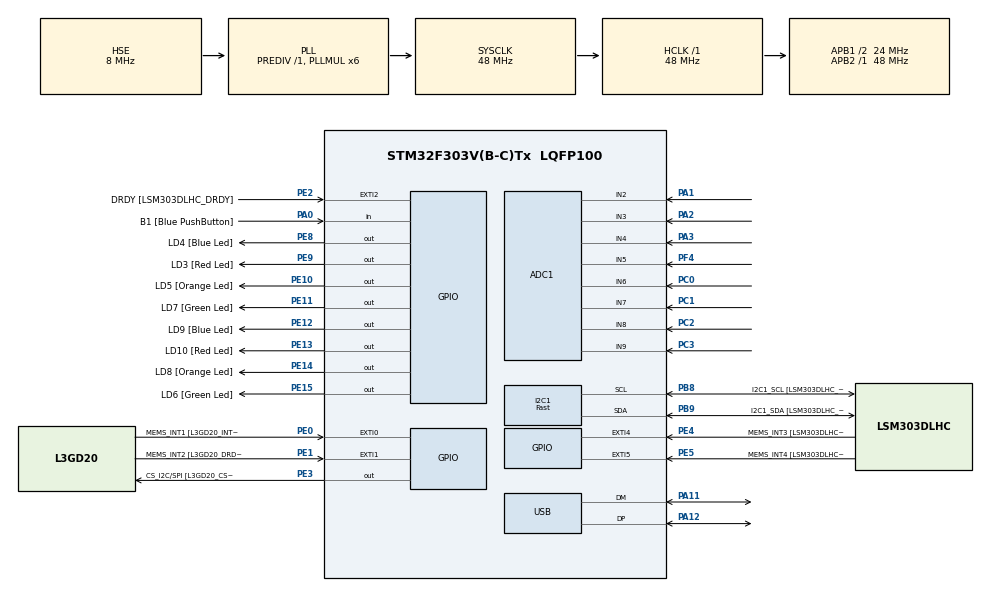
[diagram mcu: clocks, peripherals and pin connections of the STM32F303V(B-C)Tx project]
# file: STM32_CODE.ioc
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ADC1.Channel-0\#ChannelRegularConversion=ADC_CHANNEL_2
ADC1.NbrOfConversionFlag=1
ADC1.SamplingTime-0\#ChannelRegularConversion=ADC_SAMPLETIME_61CYCLES_5
ADC1.master=1
FREERTOS.BinarySemaphores01=SemI2C,Dynamic,NULL
FREERTOS.Mutexes01=MutexADC1,Dynamic,NULL
FREERTOS.Tasks01=Task01_I2C,3,300,StartTask01_I2C,Default,NULL,Dynamic,NULL,NULL
FREERTOS.configTOTAL_HEAP_SIZE=6072
I2C1.I2C_Speed_Mode=I2C_Fast
I2C1.NoStretchMode=I2C_NOSTRETCH_DISABLE
I2C1.OwnAddress=0xD
I2C1.Timing=0x0000020B
Mcu.Family=STM32F3
Mcu.Name=STM32F303V(B-C)Tx
Mcu.Package=LQFP100
NVIC.I2C1_EV_IRQn=true\:5\:0\:false\:false\:true\:true\:true\:true
NVIC.PriorityGroup=NVIC_PRIORITYGROUP_4
NVIC.TIM6_DAC_IRQn=true\:15\:0\:false\:false\:true\:false\:false\:true
NVIC.TimeBase=TIM6_DAC_IRQn
NVIC.TimeBaseIP=TIM6
PA0.GPIO_Label=B1 [Blue PushButton]
PA0.Signal=GPIO_Input
PA1.Mode=IN2-Single-Ended
PA1.Signal=ADC1_IN2
PA11.GPIO_Mode=GPIO_MODE_AF_PP
PA11.GPIO_PuPd=GPIO_NOPULL
PA11.GPIO_Speed=GPIO_SPEED_FREQ_HIGH
PA11.Mode=Device
PA11.Signal=USB_DM
PA12.GPIO_Mode=GPIO_MODE_AF_PP
PA12.GPIO_PuPd=GPIO_NOPULL
PA12.GPIO_Speed=GPIO_SPEED_FREQ_HIGH
PA12.Mode=Device
PA12.Signal=USB_DP
PA13.GPIO_Label=SWDIO
PA13.Mode=Serial_Wire
PA13.Signal=SYS_JTMS-SWDIO
PA14.GPIO_Label=SWCLK
PA14.Mode=Serial_Wire
PA14.Signal=SYS_JTCK-SWCLK
PA2.Mode=IN3-Single-Ended
PA2.Signal=ADC1_IN3
PA3.Mode=IN4-Single-Ended
PA3.Signal=ADC1_IN4
PA5.GPIO_Label=SPI1_SCK [L3GD20_SCL/SPC]
PA5.Signal=SPI1_SCK
PA6.GPIO_Label=SPI1_MISO [L3GD20_SA0/SDO]
PA6.Signal=SPI1_MISO
PA7.GPIO_Label=SPI1_MISO [L3GD20_SDA/SDI/SDO]
PA7.Signal=SPI1_MOSI
PB3.GPIO_Label=SWO
PB3.Signal=SYS_JTDO-TRACESWO
PB8.GPIO_Label=I2C1_SCL [LSM303DLHC_SCL]
PB8.GPIO_Pu=GPIO_PULLUP
PB8.Mode=I2C
PB8.Signal=I2C1_SCL
PB9.GPIO_Label=I2C1_SDA [LSM303DLHC_SDA]
PB9.GPIO_Pu=GPIO_PULLUP
PB9.Mode=I2C
PB9.Signal=I2C1_SDA
PC0.Signal=ADCx_IN6
PC1.Signal=ADCx_IN7
PC14-OSC32_IN.GPIO_Label=OSC32_IN
PC14-OSC32_IN.Signal=RCC_OSC32_IN
PC15-OSC32_OUT.GPIO_Label=OSC32_OUT
PC15-OSC32_OUT.Signal=RCC_OSC32_OUT
PC2.Signal=ADCx_IN8
PC3.Signal=ADCx_IN9
PE0.GPIO_Label=MEMS_INT1 [L3GD20_INT1]
PE0.GPIO_ModeDefaultEXTI=GPIO_MODE_EVT_RISING
PE0.Signal=GPXTI0
PE1.GPIO_Label=MEMS_INT2 [L3GD20_DRDY/INT2]
PE1.GPIO_ModeDefaultEXTI=GPIO_MODE_EVT_RISING
PE1.Signal=GPXTI1
PE10.GPIO_Label=LD5 [Orange Led]
PE10.Signal=GPIO_Output
PE11.GPIO_Label=LD7 [Green Led]
PE11.Signal=GPIO_Output
PE12.GPIO_Label=LD9 [Blue Led]
PE12.Signal=GPIO_Output
PE13.GPIO_Label=LD10 [Red Led]
PE13.Signal=GPIO_Output
PE14.GPIO_Label=LD8 [Orange Led]
PE14.Signal=GPIO_Output
PE15.GPIO_Label=LD6 [Green Led]
PE15.Signal=GPIO_Output
PE2.GPIO_Label=DRDY [LSM303DLHC_DRDY]
PE2.GPIO_ModeDefaultEXTI=GPIO_MODE_EVT_RISING
PE2.Signal=GPXTI2
PE3.GPIO_Label=CS_I2C/SPI [L3GD20_CS_I2C/SPI]
PE3.Signal=GPIO_Output
PE4.GPIO_Label=MEMS_INT3 [LSM303DLHC_INT1]
PE4.GPIO_ModeDefaultEXTI=GPIO_MODE_EVT_RISING
PE4.Signal=GPXTI4
PE5.GPIO_Label=MEMS_INT4 [LSM303DLHC_INT2]
PE5.GPIO_ModeDefaultEXTI=GPIO_MODE_EVT_RISING
PE5.Signal=GPXTI5
PE8.GPIO_Label=LD4 [Blue Led]
PE8.Signal=GPIO_Output
PE9.GPIO_Label=LD3 [Red Led]
PE9.Signal=GPIO_Output
PF0-OSC_IN.GPIO_Label=OSC_IN
PF0-OSC_IN.Mode=HSE-External-Clock-Source
PF0-OSC_IN.Signal=RCC_OSC_IN
PF1-OSC_OUT.GPIO_Label=OSC_OUT
PF1-OSC_OUT.Signal=RCC_OSC_OUT
PF4.Mode=IN5-Single-Ended
PF4.Signal=ADC1_IN5
ProjectManager.HeapSize=0x200
ProjectManager.StackSize=0x400
ProjectManager.TargetToolchain=STM32CubeIDE
RCC.AHBFreq_Value=48000000
RCC.APB1CLKDivider=RCC_HCLK_DIV2
RCC.APB1Freq_Value=24000000
RCC.APB1TimFreq_Value=48000000
RCC.APB2Freq_Value=48000000
RCC.APB2TimFreq_Value=48000000
RCC.CortexFreq_Value=48000000
RCC.HCLKFreq_Value=48000000
RCC.HSE_VALUE=8000000
RCC.HSI_VALUE=8000000
RCC.LSE_VALUE=32768
RCC.PLLMUL=RCC_PLL_MUL6
RCC.SYSCLKFreq_VALUE=48000000
RCC.SYSCLKSourceVirtual=RCC_SYSCLKSOURCE_PLLCLK
RCC.USBFreq_Value=48000000
SH.ADCx_IN6.0=ADC1_IN6,IN6-Single-Ended
SH.ADCx_IN7.0=ADC1_IN7,IN7-Single-Ended
SH.ADCx_IN8.0=ADC1_IN8,IN8-Single-Ended
SH.ADCx_IN9.0=ADC1_IN9,IN9-Single-Ended
VP_ADC1_TempSens_Input.Mode=IN-TempSens
VP_FREERTOS_VS_CMSIS_V1.Mode=CMSIS_V1
VP_SYS_VS_tim6.Mode=TIM6
board=STM32F3DISCOVERY

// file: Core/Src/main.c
/* USER CODE BEGIN Header */
/**
  ******************************************************************************
  * @file           : main.c
  * @brief          : Main program body
  ******************************************************************************
  * @attention
  *
  * Copyright (c) 2022 STMicroelectronics.
  * All rights reserved.
  *
  * This software is licensed under terms that can be found in the LICENSE file
  * in the root directory of this software component.
  * If no LICENSE file comes with this software, it is provided AS-IS.
  *
  ******************************************************************************
  */
/* USER CODE END Header */
#include "main.h"
#include "cmsis_os.h"

/* USER CODE BEGIN Includes */
#include <stdbool.h>
#include <string.h>
/* USER CODE END Includes */

/* USER CODE BEGIN PTD */
/**
 * Structure with the information of each sensor
 * Sensor name: Commercial reference of current sensor as string.
 * Sensor type: Current sensor technology type as string.
 * Main gas: Current sensor main response gas as string.
 * Response time: Current sensor response time (t90) in seconds.
 */
typedef struct Sensor{
  char Sensor_name[11];
  char Sensor_type[14];
  char Main_gas[20];
  int16_t Response_time;
} Sensor;
/**
 * Structure with the information of PCB
 * PCB unique ID: Consecutive for the PCB ID.
 * Number of sensors: Number of sensor ADC readings
 * Manufacturing date: PCB manufacturing date as string on dd/mm/yyyy format.
 * PCB capabilities: Only the 4 LSBs are used to specify the environmental sensors
	that the PCB has, since not all readings are mandatory. The order is as follows:
	temperature_degC, temperaturePCB_degC, humidity_percent, absolutePressure_kPa (00001111).
 */
typedef struct PCB{
  int16_t PCBUniqueID;
  int8_t NumberOfSensors;
  char ManufacturingDate[10];
  int8_t PCBCapabilities;
} PCB;
/* USER CODE END PTD */

/* USER CODE BEGIN PD */
//I2C functions
#define REQUEST_DEVICE_TYPE 1
#define REQUEST_DEVICE_METADATA_BASIC 2
#define REQUEST_DEVICE_METADATA_COMPLETE 3
#define REQUEST_DEVICE_VOLTAGE_DATA 4
//PCB configuration
#define temperature_degC 0
#define temperaturePCB_degC 1
#define humidity_percent 0
#define absolutePressure_kPa 1

#define temperature_degC_Response_time	40
#define temperaturePCB_degC_Response_time	40
#define humidity_percent_Response_time	40
#define absolutePressure_kPa_Response_time	40

#define PCBuniqueID 10
#define Numberofsensors 3
#define Manufacturingdate "20/01/2022"

//Sensor 01 parameters
#define Sensor01_name			"FECS40-1000"
#define Sensor01_type			"Electroquimico"
#define Sensor01_Main_gas		"Monoxido de carbono"
#define Sensor01_Response_time	30
#define Sensor01_ADC_Channel	ADC_CHANNEL_3
//Sensor 02 parameters
#define Sensor02_name			"CO-CE-10000"
#define Sensor02_type			"Electroquimico"
#define Sensor02_Main_gas		"Monoxido de carbono"
#define Sensor02_Response_time	75
#define Sensor02_ADC_Channel	ADC_CHANNEL_4
//Sensor 03 parameters
#define Sensor03_name			"4-NO2-2000"
#define Sensor03_type			"Electroquimico"
#define Sensor03_Main_gas		"Dioxido de nitrogeno"
#define Sensor03_Response_time	60
#define Sensor03_ADC_Channel	ADC_CHANNEL_5
//Sensor 04 parameters
#define Sensor04_name			"xxx1"
#define Sensor04_type			"fire"
#define Sensor04_Main_gas		"azufre"
#define Sensor04_Response_time	10
#define Sensor04_ADC_Channel	ADC_CHANNEL_6
//Sensor 05 parameters
#define Sensor05_name			"xxx1"
#define Sensor05_type			"fire"
#define Sensor05_Main_gas		"azufre"
#define Sensor05_Response_time	10
#define Sensor05_ADC_Channel	ADC_CHANNEL_6
//Sensor 06 parameters
#define Sensor06_name			"xxx1"
#define Sensor06_type			"fire"
#define Sensor06_Main_gas		"azufre"
#define Sensor06_Response_time	10
#define Sensor06_ADC_Channel	ADC_CHANNEL_6
//Sensor 07 parameters
#define Sensor07_name			"xxx1"
#define Sensor07_type			"fire"
#define Sensor07_Main_gas		"azufre"
#define Sensor07_Response_time	10
#define Sensor07_ADC_Channel	ADC_CHANNEL_6
//Sensor 08 parameters
#define Sensor08_name			"xxx1"
#define Sensor08_type			"fire"
#define Sensor08_Main_gas		"azufre"
#define Sensor08_Response_time	10
#define Sensor08_ADC_Channel	ADC_CHANNEL_6
//Sensor 09 parameters
#define Sensor09_name			"xxx1"
#define Sensor09_type			"fire"
#define Sensor09_Main_gas		"azufre"
#define Sensor09_Response_time	10
#define Sensor09_ADC_Channel	ADC_CHANNEL_6
//Sensor 10 parameters
#define Sensor10_name			"xxx1"
#define Sensor10_type			"fire"
#define Sensor10_Main_gas		"azufre"
#define Sensor10_Response_time	10
#define Sensor10_ADC_Channel	ADC_CHANNEL_6
/* USER CODE END PD */

ADC_HandleTypeDef hadc1;

I2C_HandleTypeDef hi2c1;

PCD_HandleTypeDef hpcd_USB_FS;

osThreadId Task01_I2CHandle;
osMutexId MutexADC1Handle;
osSemaphoreId SemI2CHandle;
/* USER CODE BEGIN PV */

PCB pcb;
ADC_ChannelConfTypeDef sConfig2 = {0};
volatile float DataSensor[Numberofsensors+4];
uint32_t SensorChannel[Numberofsensors];
//Definition of atmospheric data sensors
Sensor ExternalTemperatureSensor;
Sensor InternalTemperatureSensor;
Sensor HumiditySensor;
Sensor PressureSensor;

Sensor MatrizSensor[Numberofsensors];

//definition of menssage 3 and 4
volatile uint8_t mensaje3[47*Numberofsensors];
volatile uint8_t mensaje4[16+(4*Numberofsensors)];
//Definition of tasks for atmospheric data sensors
osThreadId Task02Handle;
osThreadId Task03Handle;
osThreadId Task04Handle;
osThreadId Task05Handle;
//Definition of N task for sensors
osThreadId TaskN01Handle;
osThreadId TaskN02Handle;
osThreadId TaskN03Handle;
osThreadId TaskN04Handle;
osThreadId TaskN05Handle;
osThreadId TaskN06Handle;
osThreadId TaskN07Handle;
osThreadId TaskN08Handle;
osThreadId TaskN09Handle;
osThreadId TaskN10Handle;

uint8_t pRecognized;
uint8_t pFuncion;
/* USER CODE END PV */

void SystemClock_Config(void);
static void MX_GPIO_Init(void);
static void MX_I2C1_Init(void);
static void MX_ADC1_Init(void);
static void MX_USB_PCD_Init(void);
void StartTask01_I2C(void const * argument);

/* USER CODE BEGIN PFP */
void StartTask02(void const * argument);
void StartTask03(void const * argument);
void StartTask04(void const * argument);
void StartTask05(void const * argument);
void StartTaskN(void const * argument);

/* USER CODE END PFP */

int main(void)
{

  /* MCU Configuration--------------------------------------------------------*/

  /* Reset of all peripherals, Initializes the Flash interface and the Systick. */
  HAL_Init();

  /* Configure the system clock */
  SystemClock_Config();

  /* Initialize all configured peripherals */
  MX_GPIO_Init();
  MX_I2C1_Init();
  MX_ADC1_Init();
  MX_USB_PCD_Init();
  /* USER CODE BEGIN 2 */
  //preconfigure the ADC to change channels
	sConfig2.Rank = ADC_REGULAR_RANK_1;
	sConfig2.SingleDiff = ADC_SINGLE_ENDED;
	sConfig2.SamplingTime = ADC_SAMPLETIME_61CYCLES_5;
	sConfig2.OffsetNumber = ADC_OFFSET_NONE;
	sConfig2.Offset = 0;
  // PCB data initialization
  pcb.PCBUniqueID=PCBuniqueID;
  pcb.PCBUniqueID=pcb.PCBUniqueID<<8|pcb.PCBUniqueID>>8;
  pcb.NumberOfSensors=Numberofsensors;
  strcpy(pcb.ManufacturingDate,Manufacturingdate);
  pcb.PCBCapabilities=temperature_degC*8 + temperaturePCB_degC*4 + humidity_percent*2 + absolutePressure_kPa;

  /* USER CODE END 2 */

  /* Create the mutex(es) */
  /* definition and creation of MutexADC1 */
  osMutexDef(MutexADC1);
  MutexADC1Handle = osMutexCreate(osMutex(MutexADC1));

  /* Create the semaphores(s) */
  /* definition and creation of SemI2C */
  osSemaphoreDef(SemI2C);
  SemI2CHandle = osSemaphoreCreate(osSemaphore(SemI2C), 1);

  /* Create the thread(s) */
  /* definition and creation of Task01_I2C */
  osThreadDef(Task01_I2C, StartTask01_I2C, osPriorityRealtime, 0, 300);
  Task01_I2CHandle = osThreadCreate(osThread(Task01_I2C), NULL);

  /* USER CODE BEGIN RTOS_THREADS */

  /* definition and creation of Task02 */
#if(temperature_degC==1)
	osThreadDef(Task02, StartTask02, osPriorityNormal, 0, 128);
	Task02Handle = osThreadCreate(osThread(Task02), NULL);
#endif
  /* definition and creation of Task03 */
#if(temperaturePCB_degC==1)
	osThreadDef(Task03, StartTask03, osPriorityNormal, 0, 128);
	Task03Handle = osThreadCreate(osThread(Task03), NULL);
#endif
  /* definition and creation of Task04 */
#if(humidity_percent==1)
	osThreadDef(Task04, StartTask04, osPriorityNormal, 0, 128);
	Task04Handle = osThreadCreate(osThread(Task04), NULL);
#endif
  /* definition and creation of Task05 */
#if(absolutePressure_kPa==1)
	osThreadDef(Task05, StartTask05, osPriorityNormal, 0, 128);
	Task05Handle = osThreadCreate(osThread(Task05), NULL);
#endif

  /* definition and creation of TaskN01 */
  //Sensor initialization
  	strcpy(MatrizSensor[0].Sensor_name,Sensor01_name);
  	strcpy(MatrizSensor[0].Sensor_type,Sensor01_type);
  	strcpy(MatrizSensor[0].Main_gas,Sensor01_Main_gas);
  	MatrizSensor[0].Response_time=Sensor01_Response_time;
  	SensorChannel[0]=Sensor01_ADC_Channel;
	osThreadDef(TaskN01, StartTaskN, osPriorityNormal, 0, 128);
	TaskN01Handle = osThreadCreate(osThread(TaskN01), (void*) 0);
  /* definition and creation of TaskN02 */
#if(Numberofsensors>1)
	//Sensor initialization
	strcpy(MatrizSensor[1].Sensor_name,Sensor02_name);
	strcpy(MatrizSensor[1].Sensor_type,Sensor02_type);
	strcpy(MatrizSensor[1].Main_gas,Sensor02_Main_gas);
	MatrizSensor[1].Response_time=Sensor02_Response_time;
	SensorChannel[1]=Sensor02_ADC_Channel;
	osThreadDef(TaskN02, StartTaskN, osPriorityNormal, 0, 128);
	TaskN02Handle = osThreadCreate(osThread(TaskN02), (void*) 1);
#endif
  /* definition and creation of TaskN03 */
#if(Numberofsensors>2)
  	//Sensor initialization
  	strcpy(MatrizSensor[2].Sensor_name,Sensor03_name);
  	strcpy(MatrizSensor[2].Sensor_type,Sensor03_type);
  	strcpy(MatrizSensor[2].Main_gas,Sensor03_Main_gas);
  	MatrizSensor[2].Response_time=Sensor03_Response_time;
  	SensorChannel[2]=Sensor03_ADC_Channel;
  	osThreadDef(TaskN03, StartTaskN, osPriorityNormal, 0, 128);
  	TaskN03Handle = osThreadCreate(osThread(TaskN03), (void*) 2);
#endif
  /* definition and creation of TaskN04 */
#if(Numberofsensors>3)
  	//Sensor initialization
  	strcpy(MatrizSensor[3].Sensor_name,Sensor04_name);
  	strcpy(MatrizSensor[3].Sensor_type,Sensor04_type);
  	strcpy(MatrizSensor[3].Main_gas,Sensor04_Main_gas);
  	MatrizSensor[3].Response_time=Sensor04_Response_time;
  	SensorChannel[3]=Sensor04_ADC_Channel;
  	osThreadDef(TaskN04, StartTaskN, osPriorityNormal, 0, 128);
  	TaskN04Handle = osThreadCreate(osThread(TaskN04), (void*) 3);
#endif
  /* definition and creation of TaskN05 */
#if(Numberofsensors>4)
	//Sensor initialization
	strcpy(MatrizSensor[4].Sensor_name,Sensor05_name);
	strcpy(MatrizSensor[4].Sensor_type,Sensor05_type);
	strcpy(MatrizSensor[4].Main_gas,Sensor05_Main_gas);
	MatrizSensor[4].Response_time=Sensor05_Response_time;
	SensorChannel[4]=Sensor05_ADC_Channel;
	osThreadDef(TaskN05, StartTaskN, osPriorityNormal, 0, 128);
	TaskN05Handle = osThreadCreate(osThread(TaskN05), (void*) 4);
#endif
  /* definition and creation of TaskN06 */
#if(Numberofsensors>5)
	//Sensor initialization
	strcpy(MatrizSensor[5].Sensor_name,Sensor06_name);
	strcpy(MatrizSensor[5].Sensor_type,Sensor06_type);
	strcpy(MatrizSensor[5].Main_gas,Sensor06_Main_gas);
	MatrizSensor[5].Response_time=Sensor06_Response_time;
	SensorChannel[5]=Sensor06_ADC_Channel;
	osThreadDef(TaskN06, StartTaskN, osPriorityNormal, 0, 128);
	TaskN06Handle = osThreadCreate(osThread(TaskN06), (void*) 5);
#endif
  /* definition and creation of TaskN07 */
#if(Numberofsensors>6)
	//Sensor initialization
	strcpy(MatrizSensor[6].Sensor_name,Sensor07_name);
	strcpy(MatrizSensor[6].Sensor_type,Sensor07_type);
	strcpy(MatrizSensor[6].Main_gas,Sensor07_Main_gas);
	MatrizSensor[6].Response_time=Sensor07_Response_time;
	SensorChannel[6]=Sensor07_ADC_Channel;
	osThreadDef(TaskN07, StartTaskN, osPriorityNormal, 0, 128);
	TaskN07Handle = osThreadCreate(osThread(TaskN07), (void*) 6);
#endif
  /* definition and creation of TaskN08 */
#if(Numberofsensors>7)
  //Sensor initialization
	strcpy(MatrizSensor[7].Sensor_name,Sensor08_name);
	strcpy(MatrizSensor[7].Sensor_type,Sensor08_type);
	strcpy(MatrizSensor[7].Main_gas,Sensor08_Main_gas);
	MatrizSensor[7].Response_time=Sensor08_Response_time;
	SensorChannel[7]=Sensor08_ADC_Channel;
	osThreadDef(TaskN08, StartTaskN, osPriorityNormal, 0, 128);
	TaskN08Handle = osThreadCreate(osThread(TaskN08), (void*) 7);
#endif
  /* definition and creation of TaskN09 */
#if(Numberofsensors>8)
	//Sensor initialization
	strcpy(MatrizSensor[8].Sensor_name,Sensor09_name);
	strcpy(MatrizSensor[8].Sensor_type,Sensor09_type);
	strcpy(MatrizSensor[8].Main_gas,Sensor09_Main_gas);
	MatrizSensor[8].Response_time=Sensor09_Response_time;
	SensorChannel[8]=Sensor09_ADC_Channel;
	osThreadDef(TaskN09, StartTaskN, osPriorityNormal, 0, 128);
	TaskN09Handle = osThreadCreate(osThread(TaskN09), (void*) 8);
#endif
  /* definition and creation of TaskN10 */
#if(Numberofsensors>9)
	//Sensor initialization
	strcpy(MatrizSensor[9].Sensor_name,Sensor10_name);
	strcpy(MatrizSensor[9].Sensor_type,Sensor10_type);
	strcpy(MatrizSensor[9].Main_gas,Sensor10_Main_gas);
	MatrizSensor[9].Response_time=Sensor10_Response_time;
	SensorChannel[9]=Sensor10_ADC_Channel;
	osThreadDef(TaskN10, StartTaskN, osPriorityNormal, 0, 128);
	TaskN10Handle = osThreadCreate(osThread(TaskN10), (void*) 9);
#endif

// menssage 3 armed
	for(int i=0;i<Numberofsensors;i++){
		for(int j=0;j<11;j++){
			mensaje3[47*i+j]=MatrizSensor[i].Sensor_name[j];
		}
		for(int j=0;j<14;j++){
			mensaje3[11+47*i+j]=MatrizSensor[i].Sensor_type[j];
		}
		for(int j=0;j<20;j++){
			mensaje3[25+47*i+j]=MatrizSensor[i].Main_gas[j];
		}
        mensaje3[45+47*i]=((MatrizSensor[i].Response_time)>>8);
		mensaje3[46+47*i]=MatrizSensor[i].Response_time;
	}
	// menssage 4 armed
	for(int i=0;i<(4+Numberofsensors);i++){
		mensaje4[4*i]=1;
		mensaje4[4*i+1]=1;
		mensaje4[4*i+2]=1;
		mensaje4[4*i+3]=1;
	}
  /* USER CODE END RTOS_THREADS */

  /* Start scheduler */
  osKernelStart();

  /* We should never get here as control is now taken by the scheduler */
  /* Infinite loop */
  while (1)
  {

  }
}

void SystemClock_Config(void)
{
  RCC_OscInitTypeDef RCC_OscInitStruct = {0};
  RCC_ClkInitTypeDef RCC_ClkInitStruct = {0};
  RCC_PeriphCLKInitTypeDef PeriphClkInit = {0};

  /** Initializes the RCC Oscillators according to the specified parameters
  * in the RCC_OscInitTypeDef structure.
  */
  RCC_OscInitStruct.OscillatorType = RCC_OSCILLATORTYPE_HSI|RCC_OSCILLATORTYPE_HSE;
  RCC_OscInitStruct.HSEState = RCC_HSE_BYPASS;
  RCC_OscInitStruct.HSEPredivValue = RCC_HSE_PREDIV_DIV1;
  RCC_OscInitStruct.HSIState = RCC_HSI_ON;
  RCC_OscInitStruct.HSICalibrationValue = RCC_HSICALIBRATION_DEFAULT;
  RCC_OscInitStruct.PLL.PLLState = RCC_PLL_ON;
  RCC_OscInitStruct.PLL.PLLSource = RCC_PLLSOURCE_HSE;
  RCC_OscInitStruct.PLL.PLLMUL = RCC_PLL_MUL6;
  if (HAL_RCC_OscConfig(&RCC_OscInitStruct) != HAL_OK)
  {
    Error_Handler();
  }
  /** Initializes the CPU, AHB and APB buses clocks
  */
  RCC_ClkInitStruct.ClockType = RCC_CLOCKTYPE_HCLK|RCC_CLOCKTYPE_SYSCLK
                              |RCC_CLOCKTYPE_PCLK1|RCC_CLOCKTYPE_PCLK2;
  RCC_ClkInitStruct.SYSCLKSource = RCC_SYSCLKSOURCE_PLLCLK;
  RCC_ClkInitStruct.AHBCLKDivider = RCC_SYSCLK_DIV1;
  RCC_ClkInitStruct.APB1CLKDivider = RCC_HCLK_DIV2;
  RCC_ClkInitStruct.APB2CLKDivider = RCC_HCLK_DIV1;

  if (HAL_RCC_ClockConfig(&RCC_ClkInitStruct, FLASH_LATENCY_1) != HAL_OK)
  {
    Error_Handler();
  }
  PeriphClkInit.PeriphClockSelection = RCC_PERIPHCLK_USB|RCC_PERIPHCLK_I2C1
                              |RCC_PERIPHCLK_ADC12;
  PeriphClkInit.Adc12ClockSelection = RCC_ADC12PLLCLK_DIV1;
  PeriphClkInit.I2c1ClockSelection = RCC_I2C1CLKSOURCE_HSI;
  PeriphClkInit.USBClockSelection = RCC_USBCLKSOURCE_PLL;
  if (HAL_RCCEx_PeriphCLKConfig(&PeriphClkInit) != HAL_OK)
  {
    Error_Handler();
  }
}

static void MX_ADC1_Init(void)
{

  ADC_MultiModeTypeDef multimode = {0};
  ADC_ChannelConfTypeDef sConfig = {0};

  /** Common config
  */
  hadc1.Instance = ADC1;
  hadc1.Init.ClockPrescaler = ADC_CLOCK_ASYNC_DIV1;
  hadc1.Init.Resolution = ADC_RESOLUTION_12B;
  hadc1.Init.ScanConvMode = ADC_SCAN_DISABLE;
  hadc1.Init.ContinuousConvMode = DISABLE;
  hadc1.Init.DiscontinuousConvMode = DISABLE;
  hadc1.Init.ExternalTrigConvEdge = ADC_EXTERNALTRIGCONVEDGE_NONE;
  hadc1.Init.ExternalTrigConv = ADC_SOFTWARE_START;
  hadc1.Init.DataAlign = ADC_DATAALIGN_RIGHT;
  hadc1.Init.NbrOfConversion = 1;
  hadc1.Init.DMAContinuousRequests = DISABLE;
  hadc1.Init.EOCSelection = ADC_EOC_SINGLE_CONV;
  hadc1.Init.LowPowerAutoWait = DISABLE;
  hadc1.Init.Overrun = ADC_OVR_DATA_OVERWRITTEN;
  if (HAL_ADC_Init(&hadc1) != HAL_OK)
  {
    Error_Handler();
  }
  /** Configure the ADC multi-mode
  */
  multimode.Mode = ADC_MODE_INDEPENDENT;
  if (HAL_ADCEx_MultiModeConfigChannel(&hadc1, &multimode) != HAL_OK)
  {
    Error_Handler();
  }
  /** Configure Regular Channel
  */
  sConfig.Channel = ADC_CHANNEL_2;
  sConfig.Rank = ADC_REGULAR_RANK_1;
  sConfig.SingleDiff = ADC_SINGLE_ENDED;
  sConfig.SamplingTime = ADC_SAMPLETIME_61CYCLES_5;
  sConfig.OffsetNumber = ADC_OFFSET_NONE;
  sConfig.Offset = 0;
  if (HAL_ADC_ConfigChannel(&hadc1, &sConfig) != HAL_OK)
  {
    Error_Handler();
  }

}

static void MX_I2C1_Init(void)
{

  hi2c1.Instance = I2C1;
  hi2c1.Init.Timing = 0x0000020B;
  hi2c1.Init.OwnAddress1 = 26;
  hi2c1.Init.AddressingMode = I2C_ADDRESSINGMODE_7BIT;
  hi2c1.Init.DualAddressMode = I2C_DUALADDRESS_DISABLE;
  hi2c1.Init.OwnAddress2 = 0;
  hi2c1.Init.OwnAddress2Masks = I2C_OA2_NOMASK;
  hi2c1.Init.GeneralCallMode = I2C_GENERALCALL_DISABLE;
  hi2c1.Init.NoStretchMode = I2C_NOSTRETCH_DISABLE;
  if (HAL_I2C_Init(&hi2c1) != HAL_OK)
  {
    Error_Handler();
  }
  /** Configure Analogue filter
  */
  if (HAL_I2CEx_ConfigAnalogFilter(&hi2c1, I2C_ANALOGFILTER_ENABLE) != HAL_OK)
  {
    Error_Handler();
  }
  /** Configure Digital filter
  */
  if (HAL_I2CEx_ConfigDigitalFilter(&hi2c1, 0) != HAL_OK)
  {
    Error_Handler();
  }

}

static void MX_USB_PCD_Init(void)
{

  hpcd_USB_FS.Instance = USB;
  hpcd_USB_FS.Init.dev_endpoints = 8;
  hpcd_USB_FS.Init.speed = PCD_SPEED_FULL;
  hpcd_USB_FS.Init.phy_itface = PCD_PHY_EMBEDDED;
  hpcd_USB_FS.Init.low_power_enable = DISABLE;
  hpcd_USB_FS.Init.battery_charging_enable = DISABLE;
  if (HAL_PCD_Init(&hpcd_USB_FS) != HAL_OK)
  {
    Error_Handler();
  }

}

static void MX_GPIO_Init(void)
{
  GPIO_InitTypeDef GPIO_InitStruct = {0};

  /* GPIO Ports Clock Enable */
  __HAL_RCC_GPIOE_CLK_ENABLE();
  __HAL_RCC_GPIOC_CLK_ENABLE();
  __HAL_RCC_GPIOF_CLK_ENABLE();
  __HAL_RCC_GPIOA_CLK_ENABLE();
  __HAL_RCC_GPIOB_CLK_ENABLE();

  /*Configure GPIO pin Output Level */
  HAL_GPIO_WritePin(GPIOE, CS_I2C_SPI_Pin|LD4_Pin|LD3_Pin|LD5_Pin
                          |LD7_Pin|LD9_Pin|LD10_Pin|LD8_Pin
                          |LD6_Pin, GPIO_PIN_RESET);

  /*Configure GPIO pins : DRDY_Pin MEMS_INT3_Pin MEMS_INT4_Pin MEMS_INT1_Pin
                           MEMS_INT2_Pin */
  GPIO_InitStruct.Pin = DRDY_Pin|MEMS_INT3_Pin|MEMS_INT4_Pin|MEMS_INT1_Pin
                          |MEMS_INT2_Pin;
  GPIO_InitStruct.Mode = GPIO_MODE_EVT_RISING;
  GPIO_InitStruct.Pull = GPIO_NOPULL;
  HAL_GPIO_Init(GPIOE, &GPIO_InitStruct);

  /*Configure GPIO pins : CS_I2C_SPI_Pin LD4_Pin LD3_Pin LD5_Pin
                           LD7_Pin LD9_Pin LD10_Pin LD8_Pin
                           LD6_Pin */
  GPIO_InitStruct.Pin = CS_I2C_SPI_Pin|LD4_Pin|LD3_Pin|LD5_Pin
                          |LD7_Pin|LD9_Pin|LD10_Pin|LD8_Pin
                          |LD6_Pin;
  GPIO_InitStruct.Mode = GPIO_MODE_OUTPUT_PP;
  GPIO_InitStruct.Pull = GPIO_NOPULL;
  GPIO_InitStruct.Speed = GPIO_SPEED_FREQ_LOW;
  HAL_GPIO_Init(GPIOE, &GPIO_InitStruct);

  /*Configure GPIO pin : B1_Pin */
  GPIO_InitStruct.Pin = B1_Pin;
  GPIO_InitStruct.Mode = GPIO_MODE_INPUT;
  GPIO_InitStruct.Pull = GPIO_NOPULL;
  HAL_GPIO_Init(B1_GPIO_Port, &GPIO_InitStruct);

  /*Configure GPIO pins : SPI1_SCK_Pin SPI1_MISO_Pin SPI1_MISOA7_Pin */
  GPIO_InitStruct.Pin = SPI1_SCK_Pin|SPI1_MISO_Pin|SPI1_MISOA7_Pin;
  GPIO_InitStruct.Mode = GPIO_MODE_AF_PP;
  GPIO_InitStruct.Pull = GPIO_NOPULL;
  GPIO_InitStruct.Speed = GPIO_SPEED_FREQ_HIGH;
  GPIO_InitStruct.Alternate = GPIO_AF5_SPI1;
  HAL_GPIO_Init(GPIOA, &GPIO_InitStruct);

}

/* USER CODE BEGIN 4 */
void HAL_I2C_ListenCpltCallback(I2C_HandleTypeDef *hi2c)
{
  HAL_I2C_EnableListen_IT(hi2c); // slave is ready again
}

void HAL_I2C_AddrCallback(I2C_HandleTypeDef *hi2c, uint8_t TransferDirection, uint16_t AddrMatchCode)
{
  if( TransferDirection==I2C_DIRECTION_TRANSMIT ) {
	  HAL_I2C_Slave_Seq_Receive_IT(hi2c, &pFuncion, 1, I2C_NEXT_FRAME);

  } else {
    HAL_I2C_Slave_Seq_Transmit_IT(hi2c, &pRecognized, 1, I2C_NEXT_FRAME);
  }
}

void HAL_I2C_SlaveRxCpltCallback(I2C_HandleTypeDef *hi2c)
{
	osSemaphoreRelease(SemI2CHandle);
//  HAL_I2C_Slave_Seq_Receive_IT(hi2c, &offset, 1, I2C_NEXT_FRAME);
}

void HAL_I2C_SlaveTxCpltCallback(I2C_HandleTypeDef *hi2c)
{
	osSemaphoreRelease(SemI2CHandle);
//  HAL_I2C_Slave_Seq_Transmit_IT(hi2c, &leido, 1, I2C_NEXT_FRAME);
}

#if(temperature_degC==1)
/* USER CODE BEGIN Header_StartTask02 */
/**
* @brief Function implementing the Task02 thread environment temperature reading.
* @param argument: Not used
* @retval None
*/
/* USER CODE END Header_StartTask02 */
void StartTask02(void const * argument)
{
  /* USER CODE BEGIN StartTask02 */
  //Sensor initialization
	strcpy(ExternalTemperatureSensor.Sensor_name,"SHT31-ARP-B");
	strcpy(ExternalTemperatureSensor.Sensor_type,"Temperature");
	strcpy(ExternalTemperatureSensor.Main_gas,"....");
	ExternalTemperatureSensor.Response_time=temperature_degC_Response_time;
  /* Infinite loop */
  for(;;)
  {
	/*use of the ADC with mutex, this so that only one task can use the ADC at a time*/
	osMutexWait(MutexADC1Handle, 100);
	sConfig2.Channel=ADC_CHANNEL_2;
	if (HAL_ADC_ConfigChannel(&hadc1, &sConfig2) != HAL_OK){Error_Handler();}
	// Start ADC Conversion
	HAL_ADC_Start(&hadc1);
	// Poll ADC1 Perihperal & TimeOut = 1mSec
	HAL_ADC_PollForConversion(&hadc1, 1);
	// Read The ADC Conversion Result
	uint32_t Vadc=HAL_ADC_GetValue(&hadc1);
	// stop The ADC
	HAL_ADC_Stop(&hadc1);
	osMutexRelease(MutexADC1Handle);
	//The temperature formula is T=-66.875 + 218.75*Vt/Vd
	//where Vd=3.3, Vt=adc*3.3/2^12
	//The temperature formula is T=-66.875 + 218.75*Vadc/4096
	DataSensor[0]=-66.875+(53.40576172e-3*Vadc);
	mensaje4[0]=(uint8_t)((uint32_t)DataSensor[0]&0xff000000)>>24;
	mensaje4[1]=(uint8_t)((uint32_t)DataSensor[0]&0xff0000)>>16;
	mensaje4[2]=(uint8_t)((uint32_t)DataSensor[0]&0x00ff00)>>8;
	mensaje4[3]=(uint8_t)((uint32_t)DataSensor[0]&0x000ff);
    osDelay(ExternalTemperatureSensor.Response_time);

  }
  /* USER CODE END StartTask02 */
}
#endif
#if(temperaturePCB_degC==1)
/* USER CODE BEGIN Header_StartTask03 */
/**
* @brief Function implementing the Task03 thread internal temperature reading.
* @param argument: Not used
* @retval None
*/
/* USER CODE END Header_StartTask03 */
void StartTask03(void const * argument)
{
  /* USER CODE BEGIN StartTask03 */
  //Sensor initialization
	strcpy(InternalTemperatureSensor.Sensor_name,"Internal");
	strcpy(InternalTemperatureSensor.Sensor_type,"Micro-controller temperature ");
	strcpy(InternalTemperatureSensor.Main_gas,"....");
	InternalTemperatureSensor.Response_time=temperaturePCB_degC_Response_time;
  /* Infinite loop */
  for(;;)
  {
    /*use of the ADC with mutex, this so that only one task can use the ADC at a time*/
	osMutexWait(MutexADC1Handle, 100);
	sConfig2.Channel=ADC_CHANNEL_TEMPSENSOR;
	if (HAL_ADC_ConfigChannel(&hadc1, &sConfig2) != HAL_OK){Error_Handler();}
	// Start ADC Conversion
	HAL_ADC_Start(&hadc1);
	// Poll ADC1 Perihperal & TimeOut = 1mSec
	HAL_ADC_PollForConversion(&hadc1, 1);
	// Read The ADC Conversion Result
	uint32_t Vadc=HAL_ADC_GetValue(&hadc1);
	// stop The ADC
	HAL_ADC_Stop(&hadc1);
	osMutexRelease(MutexADC1Handle);
	//The formula is Temperature (in °C) = {(V25 – Vadc) / Avg_Slope} + 25
	//where V25=1.43, Avg_Slope=4.3, Vadc=adc*3.3/4096
	DataSensor[1]=((1.43 - (805.6640625e-6 * Vadc)) / 4.3) + 25;
	mensaje4[4]=(uint8_t)((uint32_t)DataSensor[1]&0xff000000)>>24;
	mensaje4[5]=(uint8_t)((uint32_t)DataSensor[1]&0xff0000)>>16;
	mensaje4[6]=(uint8_t)((uint32_t)DataSensor[1]&0x00ff00)>>8;
	mensaje4[7]=(uint8_t)((uint32_t)DataSensor[1]&0x000ff);
    osDelay(InternalTemperatureSensor.Response_time);
  }
  /* USER CODE END StartTask03 */
}
#endif
#if (humidity_percent==1)
/* USER CODE BEGIN Header_StartTask04 */
/**
* @brief Function implementing the Task04 thread Humidity sensor reading.
* @param argument: Not used
* @retval None
*/
/* USER CODE END Header_StartTask04 */
void StartTask04(void const * argument)
{
  /* USER CODE BEGIN StartTask04 */
  //Sensor initialization
	strcpy(HumiditySensor.Sensor_name,"SHT31-ARP-B");
	strcpy(HumiditySensor.Sensor_type,"Humidity:");
	strcpy(HumiditySensor.Main_gas,"....");
	HumiditySensor.Response_time=humidity_percent_Response_time;
  /* Infinite loop */
  for(;;)
  {
    /*use of the ADC with mutex, this so that only one task can use the ADC at a time*/
	osMutexWait(MutexADC1Handle, 100);
	sConfig2.Channel=ADC_CHANNEL_3;
	if (HAL_ADC_ConfigChannel(&hadc1, &sConfig2) != HAL_OK){Error_Handler();}
	// Start ADC Conversion
	HAL_ADC_Start(&hadc1);
	// Poll ADC1 Perihperal & TimeOut = 1mSec
	HAL_ADC_PollForConversion(&hadc1, 1);
	// Read The ADC Conversion Result
	uint32_t Vadc=HAL_ADC_GetValue(&hadc1);
	// stop The ADC
	HAL_ADC_Stop(&hadc1);
	osMutexRelease(MutexADC1Handle);
	//The temperature formula is Rh=-12.5 + 125*Vt/Vd
	//where Vd=3.3, Vt=adc*3.3/2^12
	//The temperature formula is Rh=-12.5 + 125*Vadc/4096
    DataSensor[2]=-12.5 + (30.51757813e-3*Vadc);
    mensaje4[8]=(uint8_t)((uint32_t)DataSensor[2]&0xff000000)>>24;
	mensaje4[9]=(uint8_t)((uint32_t)DataSensor[2]&0xff0000)>>16;
	mensaje4[10]=(uint8_t)((uint32_t)DataSensor[2]&0x00ff00)>>8;
	mensaje4[11]=(uint8_t)((uint32_t)DataSensor[2]&0x000ff);
    osDelay(HumiditySensor.Response_time);
  }
  /* USER CODE END StartTask04 */
}
#endif
#if(absolutePressure_kPa==1)
/* USER CODE BEGIN Header_StartTask05 */
/**
* @brief Function implementing the Task05 thread Absolute pressure sensor reading.
* @param argument: Not used
* @retval None
*/
/* USER CODE END Header_StartTask05 */
void StartTask05(void const * argument)
{
  /* USER CODE BEGIN StartTask05 */
  //Sensor initialization
	strcpy(PressureSensor.Sensor_name,"KP229-E2701-XTMA1");
	strcpy(PressureSensor.Sensor_type,"Absolute pressure");
	strcpy(PressureSensor.Main_gas,"....");
	PressureSensor.Response_time=humidity_percent_Response_time;
  /* Infinite loop */
  for(;;)
  {
    /*use of the ADC with mutex, this so that only one task can use the ADC at a time*/
	osMutexWait(MutexADC1Handle, 100);
	sConfig2.Channel=ADC_CHANNEL_4;
	if (HAL_ADC_ConfigChannel(&hadc1, &sConfig2) != HAL_OK){Error_Handler();}
	// Start ADC Conversion
	HAL_ADC_Start(&hadc1);
	// Poll ADC1 Perihperal & TimeOut = 1mSec
	HAL_ADC_PollForConversion(&hadc1, 1);
	// Read The ADC Conversion Result
	uint32_t Vadc=HAL_ADC_GetValue(&hadc1);
	// stop The ADC
	HAL_ADC_Stop(&hadc1);
	osMutexRelease(MutexADC1Handle);
	//The temperature formula is P=(Vp/Vdd-b)/a
	//where Vp=adc*3.3/2^12, Vdd=3.3, b=0.05069, a=0.00293.
	//The temperature formula is P=-b/a+adc/a/4096=-17.3003413+83.32444539e-3*adc
	DataSensor[3]=-17.3003413 + (83.32444539e-3*Vadc);
	mensaje4[12]=(uint8_t)((uint32_t)DataSensor[3]&0xff000000)>>24;
	mensaje4[13]=(uint8_t)((uint32_t)DataSensor[3]&0xff0000)>>16;
	mensaje4[14]=(uint8_t)((uint32_t)DataSensor[3]&0x00ff00)>>8;
	mensaje4[15]=(uint8_t)((uint32_t)DataSensor[3]&0x000ff);
    osDelay(PressureSensor.Response_time);
  }
  /* USER CODE END StartTask05 */
}
#endif
/* USER CODE BEGIN Header_StartTaskN */
/**
* @brief Function implementing the TaskN thread of gas sensor reading.
* @param argument: used Sensor_number
*
* @retval None
*/
/* USER CODE END Header_StartTaskN */
void StartTaskN(void const * argument)
{
  /* USER CODE BEGIN StartTaskN */

  /* Infinite loop */
  for(;;)
  {
    /*use of the ADC with mutex, this so that only one task can use the ADC at a time*/
	osMutexWait(MutexADC1Handle, 100);
	sConfig2.Channel=SensorChannel[(int)argument];
	if (HAL_ADC_ConfigChannel(&hadc1, &sConfig2) != HAL_OK){Error_Handler();}
	// Start ADC Conversion
	HAL_ADC_Start(&hadc1);
	// Poll ADC1 Perihperal & TimeOut = 1mSec
	HAL_ADC_PollForConversion(&hadc1, 1);
	// Read The ADC Conversion Result
	uint32_t Vadc=HAL_ADC_GetValue(&hadc1);
	// stop The ADC
	HAL_ADC_Stop(&hadc1);
	osMutexRelease(MutexADC1Handle);
	//The voltage value in miliVolts is Vadc=adc*3300/4096
	DataSensor[((int)argument)+4]=805.6640625e-3*Vadc;
	mensaje4[16+4*(int)argument]=(uint8_t)((uint32_t)DataSensor[3]&0xff000000)>>24;
	mensaje4[17+4*(int)argument]=(uint8_t)((uint32_t)DataSensor[3]&0xff0000)>>16;
	mensaje4[18+4*(int)argument]=(uint8_t)((uint32_t)DataSensor[3]&0x00ff00)>>8;
	mensaje4[19+4*(int)argument]=(uint8_t)((uint32_t)DataSensor[3]&0x000ff);
    osDelay(MatrizSensor[(int)argument].Response_time*1000);
  }
  /* USER CODE END StartTaskN*/
}
/* USER CODE END 4 */

void StartTask01_I2C(void const * argument)
{
  /* USER CODE BEGIN 5 */
	pRecognized=0;
	while(HAL_I2C_Slave_Transmit_IT(&hi2c1,(uint8_t*)&pRecognized, 1)!=HAL_OK){
		osDelay(1);
	}
	while (HAL_I2C_GetState(&hi2c1) != HAL_I2C_STATE_READY){
		osDelay(1);
	}
  /* Infinite loop */
  for(;;)
  {
	while(HAL_I2C_Slave_Receive_IT(&hi2c1,(uint8_t*)&pFuncion, 1)!=HAL_OK){
		osDelay(1);
	}
	while (HAL_I2C_GetState(&hi2c1) != HAL_I2C_STATE_READY){
		osDelay(1);
	}
	pFuncion=pFuncion;
    if(pFuncion==REQUEST_DEVICE_TYPE){
    	while(HAL_I2C_Slave_Transmit_IT(&hi2c1,(uint8_t*)&pRecognized, 1)!=HAL_OK){
    		osDelay(1);
    	}
    	while (HAL_I2C_GetState(&hi2c1) != HAL_I2C_STATE_READY){
			osDelay(1);
		}
//    	osSemaphoreWait(SemI2CHandle, 0xFFFFFFFF);
    }
    else if(pFuncion==REQUEST_DEVICE_METADATA_BASIC){
    	while (HAL_I2C_Slave_Transmit_IT(&hi2c1,(uint8_t*)&pcb, 14)!=HAL_OK){
    		osDelay(1);
    	}
    	while (HAL_I2C_GetState(&hi2c1) != HAL_I2C_STATE_READY){
			osDelay(1);
		}
//		osSemaphoreWait(SemI2CHandle, 0xFFFFFFFF);
    }
    else if(pFuncion==REQUEST_DEVICE_METADATA_COMPLETE){
    	while (HAL_I2C_Slave_Transmit_IT(&hi2c1,(uint8_t*)mensaje3, 47*Numberofsensors)!=HAL_OK){
    		osDelay(1);
    	}
    	while (HAL_I2C_GetState(&hi2c1) != HAL_I2C_STATE_READY){
			osDelay(1);
		}
//		osSemaphoreWait(SemI2CHandle, 0xFFFFFFFF);
    }
    else if(pFuncion==REQUEST_DEVICE_VOLTAGE_DATA){
//    	int xx=14+(4*Numberofsensors);
//    	for(int i=0;i<(4+Numberofsensors);i++){
//    		mensaje4[4*i]=(uint8_t)((uint32_t)DataSensor[i]&0x000ff);
//    		mensaje4[4*i+1]=(uint8_t)((uint32_t)DataSensor[i]&0x00ff00)>>8;
//    		mensaje4[4*i+2]=(uint8_t)((uint32_t)DataSensor[i]&0xff0000)>>16;
//    		mensaje4[4*i+3]=(uint8_t)((uint32_t)DataSensor[i]&0xff000000)>>24;
//    	}
    	while (HAL_I2C_Slave_Transmit_IT(&hi2c1,(uint8_t*)mensaje4, sizeof(mensaje4))!=HAL_OK){
    		osDelay(1);
    	}
    	while (HAL_I2C_GetState(&hi2c1) != HAL_I2C_STATE_READY){
			osDelay(1);
		}
//		osSemaphoreWait(SemI2CHandle, 0xFFFFFFFF);
    }
//    else{
//    	while (HAL_I2C_Slave_Transmit_IT(&hi2c1,(uint8_t*)&pRecognized, 1)!=HAL_OK){
//    		osDelay(1);
//    	}
//    	while (HAL_I2C_GetState(&hi2c1) != HAL_I2C_STATE_READY){
//			osDelay(1);
//		}
//	}
  }
  /* USER CODE END 5 */
}

void HAL_TIM_PeriodElapsedCallback(TIM_HandleTypeDef *htim)
{
  if (htim->Instance == TIM6) {
    HAL_IncTick();
  }
}

void Error_Handler(void)
{
  __disable_irq();
  while (1)
  {
  }
}
